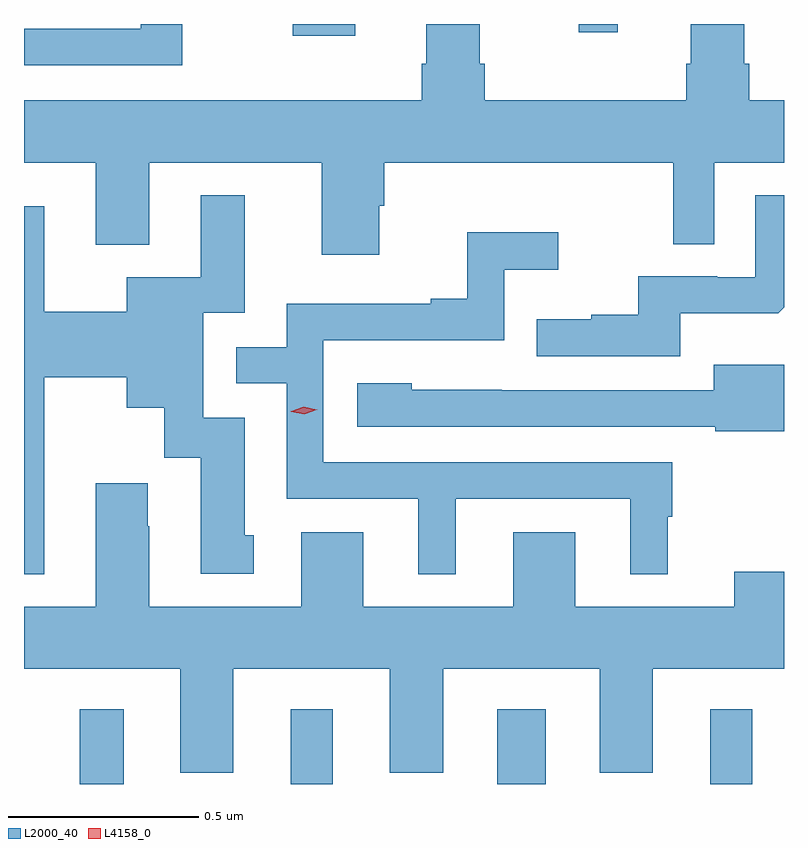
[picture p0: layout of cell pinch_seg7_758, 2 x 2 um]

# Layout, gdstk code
import gdstk
lib = gdstk.Library(unit=1e-6, precision=1e-09)
def R(c, l, rs):  # rectangles x0, y0, x1, y1
    for r in rs: c.add(gdstk.rectangle(r[:2], r[2:], *l))
def P(c, l, *ps):  # polygons
    for p in ps: c.add(gdstk.Polygon(p, *l))
L2000_40 = (2000, 40)
L4158_0 = (4158, 0)

pinch_seg7_758 = lib.new_cell('pinch_seg7_758')
R(pinch_seg7_758, L2000_40, [(365.687,1025.621,365.803,1025.818), (366.242,1025.621,366.352,1025.818), (366.785,1025.621,366.913,1025.818), (367.346,1025.621,367.456,1025.818), (366.247,1027.59,366.412,1027.621), (367,1027.599,367.103,1027.621)])
P(pinch_seg7_758, L2000_40, [(366.475,1027.143),(366.488,1027.143),(366.488,1027.256),(367.248,1027.256),(367.248,1027.042),(367.356,1027.042),(367.356,1027.256),(367.54,1027.256),(367.54,1027.42),(367.448,1027.42),(367.448,1027.516),(367.435,1027.516),(367.435,1027.621),(367.295,1027.621),(367.295,1027.516),(367.283,1027.516),(367.283,1027.42),(366.752,1027.42),(366.752,1027.516),(366.739,1027.516),(366.739,1027.621),(366.599,1027.621),(366.599,1027.516),(366.587,1027.516),(366.587,1027.42),(365.54,1027.42),(365.54,1027.256),(365.729,1027.256),(365.729,1027.04),(365.869,1027.04),(365.869,1027.256),(366.323,1027.256),(366.323,1027.014),(366.475,1027.014)],
  [(365.956,1027.621),(365.847,1027.621),(365.847,1027.608),(365.54,1027.608),(365.54,1027.512),(365.956,1027.512)],
  [(365.593,1026.692),(365.81,1026.692),(365.81,1026.611),(365.909,1026.611),(365.909,1026.48),(366.005,1026.48),(366.005,1026.174),(366.145,1026.174),(366.145,1026.276),(366.121,1026.276),(366.121,1026.585),(366.012,1026.585),(366.012,1026.861),(366.121,1026.861),(366.121,1027.171),(366.005,1027.171),(366.005,1026.955),(365.81,1026.955),(365.81,1026.864),(365.593,1026.864),(365.593,1027.141),(365.54,1027.141),(365.54,1026.173),(365.593,1026.173)],
  [(367.267,1026.86),(367.525,1026.86),(367.54,1026.875),(367.54,1027.171),(367.464,1027.171),(367.464,1026.954),(367.364,1026.954),(367.364,1026.957),(367.157,1026.957),(367.157,1026.856),(367.033,1026.856),(367.033,1026.844),(366.889,1026.844),(366.889,1026.747),(367.267,1026.747)],
  [(366.676,1026.372),(367.136,1026.372),(367.136,1026.173),(367.234,1026.173),(367.234,1026.324),(367.246,1026.324),(367.246,1026.468),(366.327,1026.468),(366.327,1026.789),(366.804,1026.789),(366.804,1026.974),(366.946,1026.974),(366.946,1027.073),(366.706,1027.073),(366.706,1026.898),(366.611,1026.898),(366.611,1026.885),(366.231,1026.885),(366.231,1026.771),(366.098,1026.771),(366.098,1026.675),(366.231,1026.675),(366.231,1026.372),(366.578,1026.372),(366.578,1026.173),(366.676,1026.173)],
  [(367.54,1026.724),(367.355,1026.724),(367.355,1026.657),(366.797,1026.657),(366.797,1026.658),(366.561,1026.658),(366.561,1026.676),(366.417,1026.676),(366.417,1026.561),(367.359,1026.561),(367.359,1026.549),(367.54,1026.549)],
  [(366.091,1025.924),(366.503,1025.924),(366.503,1025.651),(366.643,1025.651),(366.643,1025.924),(367.055,1025.924),(367.055,1025.651),(367.195,1025.651),(367.195,1025.924),(367.54,1025.924),(367.54,1026.179),(367.409,1026.179),(367.409,1026.088),(366.991,1026.088),(366.991,1026.283),(366.827,1026.283),(366.827,1026.088),(366.433,1026.088),(366.433,1026.283),(366.269,1026.283),(366.269,1026.088),(365.869,1026.088),(365.869,1026.299),(365.866,1026.299),(365.866,1026.412),(365.729,1026.412),(365.729,1026.088),(365.54,1026.088),(365.54,1025.924),(365.951,1025.924),(365.951,1025.651),(366.091,1025.651)])
P(pinch_seg7_758, L4158_0, [(366.278,1026.594),(366.243,1026.601),(366.242,1026.602),(366.243,1026.602),(366.276,1026.614),(366.311,1026.606),(366.312,1026.606),(366.311,1026.606)])

lib.write_gds('pinch_seg7_758.gds')
